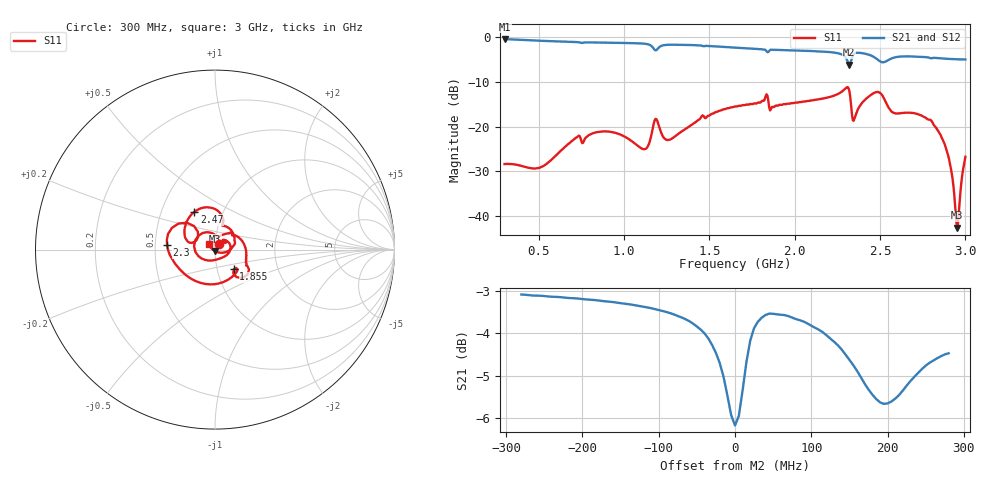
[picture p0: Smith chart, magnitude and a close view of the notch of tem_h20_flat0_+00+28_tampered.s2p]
! tem_h20_flat0_+00+28_tampered
! simulated by sim/fixtures_fdtd.py (S12 = S21, S22 not computed)
# HZ S RI R 50
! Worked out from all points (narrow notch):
!   541 points, 300 MHz to 3 GHz, reference 50 ohm
!   highest |S21| = -0.49 dB at 300 MHz (marker M1); lowest = -6.2 dB at 2.32 GHz (marker M2)
!   notch at M2: 3.7 dB deep, 47.2 MHz wide at half that depth
!   lowest |S11| = -42.6 dB at 2.95 GHz (marker M3), VSWR 1.01, Z = 49.8 - j0.722 ohm
!   |S11| at or under -10 dB: start of sweep to end of sweep
!   |S22| runs from - to - dB; largest |S21 - S12| = 0
!   S11 on the Smith chart (normalised r, x): 300 MHz: 1.04, +0.07; 1.855 GHz: 1.20, -0.27; 2.3 GHz: 0.58, +0.03; 2.47 GHz: 0.73, +0.33; 3 GHz: 0.93, +0.06
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3e8  0.0213 0.0316  0.0431 -0.9447  0.0431 -0.9447  0 0
5.45e8  0.0204 0.0323  -0.8229 -0.365  -0.8229 -0.365  0 0
7.5e8  0.0578 0.0371  -0.7186 0.467  -0.7186 0.467  0 0
9.7e8  0.0819 -0.00962  0.0623 0.8557  0.0623 0.8557  0 0
1.12e9  0.0145 -0.054  0.6281 0.5576  0.6281 0.5576  0 0
1.2e9  -0.0463 0.0969  0.6731 0.3287  0.6731 0.3287  0 0
1.255e9  0.0139 0.0693  0.8068 0.1246  0.8068 0.1246  0 0
1.375e9  0.0494 0.0848  0.728 -0.365  0.728 -0.365  0 0
1.515e9  0.1145 0.0784  0.3103 -0.7239  0.3103 -0.7239  0 0
1.65e9  0.166 0.0215  -0.1952 -0.7334  -0.1952 -0.7334  0 0
1.855e9  0.1046 -0.1093  -0.6662 -0.2535  -0.6662 -0.2535  0 0
2.1e9  -0.0293 -0.1937  -0.442 0.5366  -0.442 0.5366  0 0
2.3e9  -0.267 0.027  0.2315 0.534  0.2315 0.534  0 0
2.32e9  -0.2026 0.1454  0.1716 0.46  0.1716 0.46  0 0
2.35e9  -0.1149 0.0427  0.2598 0.5975  0.2598 0.5975  0 0
2.47e9  -0.1154 0.21  0.5476 0.2115  0.5476 0.2115  0 0
2.55e9  0.0445 0.1564  0.546 0.0953  0.546 0.0953  0 0
2.665e9  0.0709 0.124  0.5475 -0.2629  0.5475 -0.2629  0 0
2.84e9  0.0891 0.00459  0.1187 -0.568  0.1187 -0.568  0 0
2.905e9  0.0386 -0.0179  -0.0711 -0.5636  -0.0711 -0.5636  0 0
2.95e9  -0.00173 -0.00724  -0.1948 -0.528  -0.1948 -0.528  0 0
3e9  -0.0343 0.0305  -0.3216 -0.4588  -0.3216 -0.4588  0 0
